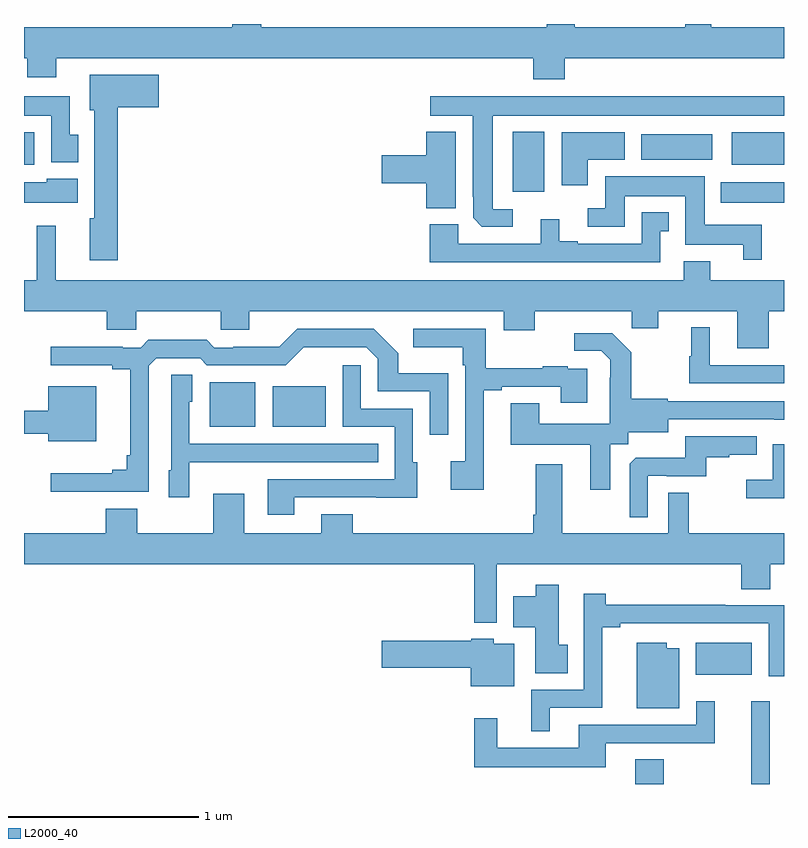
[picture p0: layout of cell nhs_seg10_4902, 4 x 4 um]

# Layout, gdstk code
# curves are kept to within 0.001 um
import gdstk
lib = gdstk.Library(unit=1e-6, precision=1e-09)
def R(c, l, rs):  # rectangles x0, y0, x1, y1
    for r in rs: c.add(gdstk.rectangle(r[:2], r[2:], *l))
def P(c, l, *ps):  # polygons
    for p in ps: c.add(gdstk.Polygon(p, *l))
L2000_40 = (2000, 40)

nhs_seg10_4902 = lib.new_cell('nhs_seg10_4902')
R(nhs_seg10_4902, L2000_40, [(396.218,1292.5,396.366,1292.63), (396.827,1292.5,396.926,1292.935), (396.536,1293.074,396.829,1293.244), (393.977,1294.379,394.216,1294.615), (394.31,1294.379,394.588,1294.594), (396.668,1295.558,397,1295.668), (395.573,1295.616,395.737,1295.932), (393,1295.759,393.055,1295.929), (396.725,1295.759,397,1295.929), (396.248,1295.786,396.622,1295.92)])
P(nhs_seg10_4902, L2000_40, [(395.846,1296.32),(397,1296.32),(397,1296.484),(396.617,1296.484),(396.617,1296.5),(396.481,1296.5),(396.481,1296.484),(395.898,1296.484),(395.898,1296.5),(395.75,1296.5),(395.75,1296.484),(394.248,1296.484),(394.248,1296.5),(394.097,1296.5),(394.097,1296.484),(393,1296.484),(393,1296.32),(393.017,1296.32),(393.017,1296.221),(393.169,1296.221),(393.169,1296.32),(395.681,1296.32),(395.681,1296.209),(395.846,1296.209)],
  [(393.494,1296.062),(393.709,1296.062),(393.709,1296.232),(393.347,1296.232),(393.347,1296.045),(393.371,1296.045),(393.371,1295.478),(393.347,1295.478),(393.347,1295.256),(393.494,1295.256)],
  [(393.286,1295.916),(393.241,1295.916),(393.241,1296.121),(393,1296.121),(393,1296.017),(393.144,1296.017),(393.144,1295.772),(393.286,1295.772)],
  [(395.572,1295.526),(395.467,1295.526),(395.467,1296.017),(397,1296.017),(397,1296.121),(395.139,1296.121),(395.139,1296.017),(395.363,1296.017),(395.364,1295.479),(395.41,1295.433),(395.572,1295.433)],
  [(395.272,1295.932),(395.117,1295.932),(395.117,1295.81),(394.884,1295.81),(394.884,1295.663),(395.117,1295.663),(395.117,1295.531),(395.272,1295.531)],
  [(395.968,1295.786),(396.163,1295.786),(396.163,1295.929),(395.831,1295.929),(395.831,1295.652),(395.968,1295.652)],
  [(396.884,1295.443),(396.583,1295.443),(396.583,1295.698),(396.059,1295.698),(396.059,1295.529),(395.967,1295.529),(395.967,1295.433),(396.163,1295.433),(396.163,1295.594),(396.479,1295.594),(396.479,1295.339),(396.785,1295.339),(396.785,1295.259),(396.884,1295.259)],
  [(393.283,1295.686),(393.12,1295.686),(393.12,1295.668),(393,1295.668),(393,1295.558),(393.283,1295.558)],
  [(396.348,1295.409),(396.394,1295.409),(396.394,1295.509),(396.252,1295.509),(396.252,1295.343),(395.914,1295.343),(395.914,1295.356),(395.818,1295.356),(395.818,1295.473),(395.72,1295.473),(395.72,1295.343),(395.286,1295.343),(395.286,1295.446),(395.135,1295.446),(395.135,1295.247),(396.348,1295.247)],
  [(396.919,1294.988),(397,1294.988),(397,1295.152),(396.613,1295.152),(396.613,1295.251),(396.473,1295.251),(396.473,1295.152),(393.167,1295.152),(393.167,1295.437),(393.068,1295.437),(393.068,1295.152),(393,1295.152),(393,1294.988),(393.436,1294.988),(393.436,1294.89),(393.591,1294.89),(393.591,1294.988),(394.036,1294.988),(394.036,1294.89),(394.186,1294.89),(394.186,1294.988),(395.525,1294.988),(395.525,1294.889),(395.689,1294.889),(395.689,1294.988),(396.199,1294.988),(396.199,1294.898),(396.337,1294.898),(396.337,1294.988),(396.755,1294.988),(396.755,1294.794),(396.919,1294.794)],
  [(397,1294.704),(396.61,1294.704),(396.61,1294.903),(396.512,1294.903),(396.512,1294.752),(396.501,1294.752),(396.501,1294.608),(397,1294.608)],
  [(395.419,1294.572),(395.515,1294.572),(395.515,1294.59),(395.825,1294.59),(395.825,1294.506),(395.965,1294.506),(395.965,1294.686),(395.861,1294.686),(395.861,1294.699),(395.729,1294.699),(395.729,1294.688),(395.431,1294.688),(395.431,1294.896),(395.049,1294.896),(395.049,1294.799),(395.31,1294.799),(395.31,1294.703),(395.322,1294.703),(395.322,1294.198),(395.247,1294.198),(395.247,1294.05),(395.419,1294.05)],
  [(393.657,1294.701),(393.696,1294.74),(393.927,1294.74),(393.963,1294.704),(394.377,1294.704),(394.472,1294.799),(394.8,1294.8),(394.863,1294.737),(394.863,1294.566),(395.136,1294.566),(395.136,1294.338),(395.232,1294.338),(395.232,1294.663),(394.971,1294.663),(394.971,1294.766),(394.84,1294.896),(394.437,1294.896),(394.343,1294.802),(394.102,1294.802),(394.102,1294.797),(394.002,1294.797),(393.963,1294.837),(393.655,1294.837),(393.615,1294.797),(393.521,1294.797),(393.521,1294.802),(393.141,1294.802),(393.141,1294.704),(393.464,1294.704),(393.464,1294.682),(393.56,1294.682),(393.56,1294.231),(393.541,1294.231),(393.541,1294.154),(393.464,1294.154),(393.464,1294.135),(393.141,1294.135),(393.141,1294.038),(393.657,1294.038)],
  [(396.085,1294.288),(396.18,1294.288),(396.18,1294.352),(396.391,1294.352),(396.391,1294.419),(397,1294.418),(397,1294.515),(396.387,1294.515),(396.387,1294.528),(396.195,1294.528),(396.195,1294.773),(396.095,1294.873),(395.895,1294.873),(395.895,1294.779),(396.039,1294.779),(396.086,1294.732),(396.086,1294.637),(396.084,1294.637),(396.084,1294.396),(395.713,1294.396),(395.713,1294.505),(395.561,1294.505),(395.561,1294.286),(395.981,1294.286),(395.981,1294.05),(396.085,1294.05)],
  [(394.423,1294.008),(394.853,1294.008),(394.853,1294.007),(395.071,1294.007),(395.071,1294.194),(395.046,1294.194),(395.046,1294.476),(394.773,1294.476),(394.773,1294.705),(394.677,1294.705),(394.677,1294.38),(394.95,1294.38),(394.95,1294.104),(394.283,1294.104),(394.283,1293.918),(394.423,1293.918)],
  [(393.87,1294.193),(394.187,1294.193),(394.187,1294.194),(394.865,1294.194),(394.865,1294.29),(393.87,1294.29),(393.87,1294.512),(393.886,1294.512),(393.886,1294.655),(393.774,1294.655),(393.774,1294.152),(393.761,1294.152),(393.761,1294.008),(393.87,1294.008)],
  [(393.379,1294.594),(393.128,1294.594),(393.128,1294.465),(393,1294.465),(393,1294.343),(393.128,1294.343),(393.128,1294.304),(393.379,1294.304)],
  [(396.282,1294.122),(396.382,1294.122),(396.382,1294.119),(396.59,1294.119),(396.59,1294.221),(396.713,1294.221),(396.713,1294.232),(396.857,1294.232),(396.857,1294.329),(396.48,1294.329),(396.48,1294.217),(396.221,1294.217),(396.189,1294.185),(396.189,1293.905),(396.282,1293.905)],
  [(397,1294.287),(396.942,1294.287),(396.942,1294.102),(396.801,1294.102),(396.801,1294.004),(397,1294.004)],
  [(395.487,1293.656),(396.776,1293.656),(396.776,1293.526),(396.928,1293.526),(396.928,1293.656),(397,1293.656),(397,1293.82),(396.499,1293.82),(396.499,1294.034),(396.39,1294.034),(396.39,1293.82),(395.833,1293.82),(395.833,1294.183),(395.693,1294.183),(395.693,1293.916),(395.681,1293.916),(395.681,1293.82),(394.729,1293.82),(394.729,1293.919),(394.565,1293.919),(394.565,1293.82),(394.159,1293.82),(394.159,1294.027),(393.995,1294.027),(393.995,1293.82),(393.595,1293.82),(393.595,1293.949),(393.431,1293.949),(393.431,1293.82),(393,1293.82),(393,1293.656),(395.371,1293.656),(395.371,1293.35),(395.487,1293.35)],
  [(395.861,1293.234),(395.815,1293.234),(395.815,1293.55),(395.693,1293.55),(395.693,1293.487),(395.576,1293.487),(395.576,1293.326),(395.69,1293.326),(395.69,1293.082),(395.861,1293.082)],
  [(395.767,1292.901),(396.044,1292.901),(396.044,1293.325),(396.139,1293.325),(396.139,1293.345),(396.921,1293.345),(396.921,1293.066),(397,1293.066),(397,1293.441),(396.692,1293.441),(396.692,1293.443),(396.062,1293.443),(396.062,1293.502),(395.946,1293.502),(395.946,1292.997),(395.669,1292.997),(395.669,1292.777),(395.767,1292.777)],
  [(395.581,1293.238),(395.472,1293.238),(395.472,1293.265),(395.355,1293.265),(395.355,1293.255),(394.884,1293.255),(394.884,1293.113),(395.351,1293.113),(395.351,1293.014),(395.581,1293.014)],
  [(396.448,1293.214),(396.382,1293.214),(396.382,1293.244),(396.224,1293.244),(396.224,1292.9),(396.448,1292.9)],
  [(396.061,1292.715),(396.635,1292.715),(396.635,1292.935),(396.537,1292.935),(396.537,1292.811),(395.921,1292.811),(395.921,1292.692),(395.491,1292.692),(395.491,1292.845),(395.37,1292.845),(395.37,1292.588),(396.061,1292.588)])

lib.write_gds('nhs_seg10_4902.gds')
